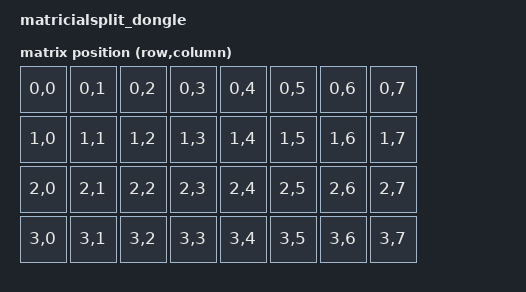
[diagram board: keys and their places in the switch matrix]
/*
 * Copyright (c) 2020 The ZMK Contributors
 *
 * SPDX-License-Identifier: MIT
 */

#include "../matricialsplit.dtsi"

/ {
    model = "matricialsplit_dongle";
    compatible = "matricialsplit_dongle";

    chosen {
        // El dongle usa su propio matrix transform
        zmk,matrix_transform = &split_transform;
        // Usa un kscan dummy para evitar errores de compilación
        zmk,kscan = &kscan0;
    };

    // Matrix transform para el teclado completo (8x4)
    split_transform: keymap_transform_0 {
        compatible = "zmk,matrix-transform";
        columns = <8>;
        rows = <4>;
        map = <
            RC(0,0) RC(0,1) RC(0,2) RC(0,3)    RC(0,4) RC(0,5) RC(0,6) RC(0,7)
            RC(1,0) RC(1,1) RC(1,2) RC(1,3)    RC(1,4) RC(1,5) RC(1,6) RC(1,7)
            RC(2,0) RC(2,1) RC(2,2) RC(2,3)    RC(2,4) RC(2,5) RC(2,6) RC(2,7)
            RC(3,0) RC(3,1) RC(3,2) RC(3,3)    RC(3,4) RC(3,5) RC(3,6) RC(3,7)
        >;
    };
};

// Configurar el kscan como dummy (sin GPIOs físicos)
&kscan0 {
    // Mantener la configuración básica pero sin col-gpios
    // ZMK necesita que exista pero no se usará físicamente
};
